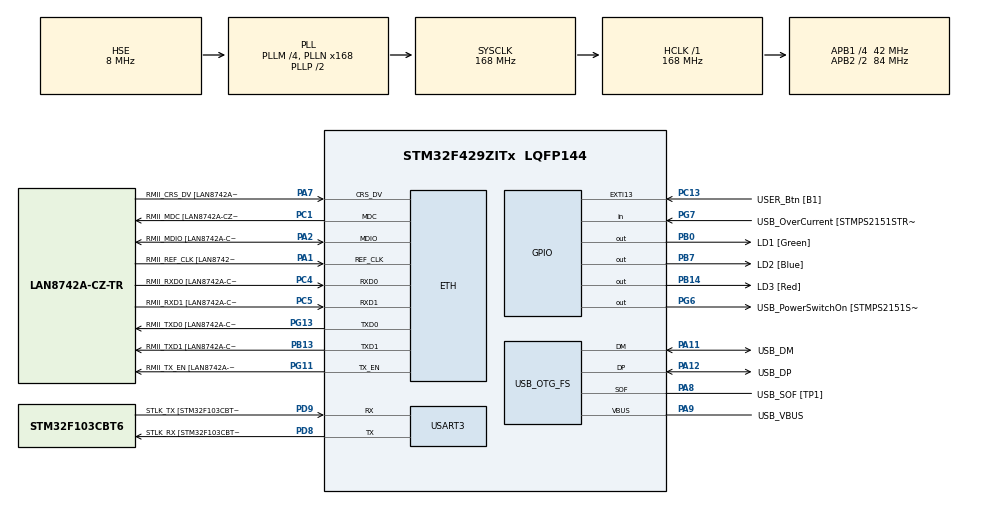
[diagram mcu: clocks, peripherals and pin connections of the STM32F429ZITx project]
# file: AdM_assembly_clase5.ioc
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ETH.MediaInterface=HAL_ETH_RMII_MODE
ETH.PHY_Name=LAN8742A_PHY_ADDRESS
ETH.PHY_Value=0
ETH.PhyAddress=0
Mcu.Family=STM32F4
Mcu.Name=STM32F429ZITx
Mcu.Package=LQFP144
NVIC.PriorityGroup=NVIC_PRIORITYGROUP_4
PA1.GPIO_Label=RMII_REF_CLK [LAN8742A-CZ-TR_REFCLK0]
PA1.Mode=RMII
PA1.Signal=ETH_REF_CLK
PA10.GPIO_Label=USB_ID
PA10.Signal=USB_OTG_FS_ID
PA11.GPIO_Label=USB_DM
PA11.Mode=Device_Only
PA11.Signal=USB_OTG_FS_DM
PA12.GPIO_Label=USB_DP
PA12.Mode=Device_Only
PA12.Signal=USB_OTG_FS_DP
PA13.GPIO_Label=TMS
PA13.Mode=Serial_Wire
PA13.Signal=SYS_JTMS-SWDIO
PA14.GPIO_Label=TCK
PA14.Mode=Serial_Wire
PA14.Signal=SYS_JTCK-SWCLK
PA2.GPIO_Label=RMII_MDIO [LAN8742A-CZ-TR_MDIO]
PA2.Mode=RMII
PA2.Signal=ETH_MDIO
PA7.GPIO_Label=RMII_CRS_DV [LAN8742A-CZ-TR_CRS_DV]
PA7.Mode=RMII
PA7.Signal=ETH_CRS_DV
PA8.GPIO_Label=USB_SOF [TP1]
PA8.Mode=Activate_SOF_FS
PA8.Signal=USB_OTG_FS_SOF
PA9.GPIO_Label=USB_VBUS
PA9.Mode=Activate_VBUS
PA9.Signal=USB_OTG_FS_VBUS
PB0.GPIO_Label=LD1 [Green]
PB0.Signal=GPIO_Output
PB13.GPIO_Label=RMII_TXD1 [LAN8742A-CZ-TR_TXD1]
PB13.Mode=RMII
PB13.Signal=ETH_TXD1
PB14.GPIO_Label=LD3 [Red]
PB14.Signal=GPIO_Output
PB7.GPIO_Label=LD2 [Blue]
PB7.Signal=GPIO_Output
PC1.GPIO_Label=RMII_MDC [LAN8742A-CZ-TR_MDC]
PC1.Mode=RMII
PC1.Signal=ETH_MDC
PC13.GPIO_Label=USER_Btn [B1]
PC13.Signal=GPXTI13
PC14/OSC32_IN.Mode=LSE-External-Oscillator
PC14/OSC32_IN.Signal=RCC_OSC32_IN
PC15/OSC32_OUT.Mode=LSE-External-Oscillator
PC15/OSC32_OUT.Signal=RCC_OSC32_OUT
PC4.GPIO_Label=RMII_RXD0 [LAN8742A-CZ-TR_RXD0]
PC4.Mode=RMII
PC4.Signal=ETH_RXD0
PC5.GPIO_Label=RMII_RXD1 [LAN8742A-CZ-TR_RXD1]
PC5.Mode=RMII
PC5.Signal=ETH_RXD1
PD8.GPIO_Label=STLK_RX [STM32F103CBT6_PA3]
PD8.Mode=Asynchronous
PD8.Signal=USART3_TX
PD9.GPIO_Label=STLK_TX [STM32F103CBT6_PA2]
PD9.Mode=Asynchronous
PD9.Signal=USART3_RX
PG11.GPIO_Label=RMII_TX_EN [LAN8742A-CZ-TR_TXEN]
PG11.Mode=RMII
PG11.Signal=ETH_TX_EN
PG13.GPIO_Label=RMII_TXD0 [LAN8742A-CZ-TR_TXD0]
PG13.Mode=RMII
PG13.Signal=ETH_TXD0
PG6.GPIO_Label=USB_PowerSwitchOn [STMPS2151STR_EN]
PG6.Signal=GPIO_Output
PG7.GPIO_Label=USB_OverCurrent [STMPS2151STR_FAULT]
PG7.Signal=GPIO_Input
PH0/OSC_IN.GPIO_Label=MCO [STM32F103CBT6_PA8]
PH0/OSC_IN.Mode=HSE-External-Clock-Source
PH0/OSC_IN.Signal=RCC_OSC_IN
PH1/OSC_OUT.Mode=HSE-External-Clock-Source
PH1/OSC_OUT.Signal=RCC_OSC_OUT
ProjectManager.HeapSize=0x200
ProjectManager.StackSize=0x400
ProjectManager.TargetToolchain=STM32CubeIDE
RCC.48MHZClocksFreq_Value=48000000
RCC.AHBFreq_Value=168000000
RCC.APB1CLKDivider=RCC_HCLK_DIV4
RCC.APB1Freq_Value=42000000
RCC.APB1TimFreq_Value=84000000
RCC.APB2CLKDivider=RCC_HCLK_DIV2
RCC.APB2Freq_Value=84000000
RCC.APB2TimCLKDivider=2
RCC.APB2TimFreq_Value=168000000
RCC.CortexFreq_Value=168000000
RCC.HCLKFreq_Value=168000000
RCC.HSE_VALUE=8000000
RCC.HSI_VALUE=16000000
RCC.PLLM=4
RCC.PLLMUL=RCC_PLL_MUL9
RCC.PLLN=168
RCC.PLLQ=7
RCC.PRESCALERUSB=RCC_USBCLKSOURCE_PLL_DIV1_5
RCC.SYSCLKFreq_VALUE=168000000
RCC.SYSCLKSource=RCC_SYSCLKSOURCE_PLLCLK
RCC.SYSCLKSourceVirtual=RCC_SYSCLKSOURCE_PLLCLK
RCC.USBFreq_Value=48000000
RCC.VCOOutputFreq_Value=336000000
USART3.VirtualMode=VM_ASYNC
USB_OTG_FS.VirtualMode=Device_Only
board=NUCLEO-F429ZI

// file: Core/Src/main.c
/* USER CODE BEGIN Header */
/**
  ******************************************************************************
  * @file           : main.c
  * @brief          : Main program body
  ******************************************************************************
  * @attention
  *
  * Copyright (c) 2024 STMicroelectronics.
  * All rights reserved.
  *
  * This software is licensed under terms that can be found in the LICENSE file
  * in the root directory of this software component.
  * If no LICENSE file comes with this software, it is provided AS-IS.
  *
  ******************************************************************************
  */
/* USER CODE END Header */
#include "main.h"
#include "string.h"

/* USER CODE BEGIN Includes */
#include "asm_func.h"

/* USER CODE END Includes */

/* USER CODE BEGIN PD */
#define EJERCICIO 4

/* USER CODE END PD */

ETH_TxPacketConfig TxConfig;
ETH_DMADescTypeDef  DMARxDscrTab[ETH_RX_DESC_CNT]; /* Ethernet Rx DMA Descriptors */
ETH_DMADescTypeDef  DMATxDscrTab[ETH_TX_DESC_CNT]; /* Ethernet Tx DMA Descriptors */

ETH_HandleTypeDef heth;

UART_HandleTypeDef huart3;

PCD_HandleTypeDef hpcd_USB_OTG_FS;

void SystemClock_Config(void);
static void MX_GPIO_Init(void);
static void MX_ETH_Init(void);
static void MX_USART3_UART_Init(void);
static void MX_USB_OTG_FS_PCD_Init(void);
/* USER CODE BEGIN PFP */

void downSample2(int32_t vectorIn[], int32_t vectorOut[], uint32_t longitud, uint32_t N);
/* USER CODE END PFP */

int main(void)
{

  /* USER CODE BEGIN 1 */

    /* -------------- GP2-EJ1 PACK32TO16  -------------- */
    if(1 == EJERCICIO){
	    int32_t vectorIn[] = { -400000, -300000, -200000, 200000, 300000, 400000};
	    const uint32_t longitud = sizeof(vectorIn)/sizeof(vectorIn[0]);
	    int16_t vectorOut[longitud];
	    //uint32_t longitud = sizeof(vectorIn)/sizeof(vectorIn[0]);
	    pack32to16(vectorIn, vectorOut, longitud);
	    uint8_t a = 1; // usar break para ver vectorOut
    }
    /* -------------- GP2-EJ1 PACK32TO16  -------------- */

    /* -------------- GP2-EJ2 MAX  -------------- */
    if(2 == EJERCICIO){
	    int32_t vectorIn[] = {-5, 50, 10, 100, -20, 30, 0};
	    uint32_t longitud = sizeof(vectorIn)/sizeof(vectorIn[0]);

	    uint32_t maxValue = max(vectorIn, longitud);
	    uint8_t a = 1; // usar break para ver vectorOut
    }
    /* -------------- GP2-EJ2 MAX  -------------- */

    /* -------------- GP2-EJ3 DOWNSAMPLE  -------------- */
    if(3 == EJERCICIO){
	    int32_t vectorIn[] = {1,2,3,4,5,6,7,8,9,10,11,12};
	    uint32_t longitud = sizeof(vectorIn)/sizeof(vectorIn[0]);
	    uint32_t N = 3;
	    const uint32_t longitud2 = longitud * (N-1) / N;
	    int32_t vectorOut[longitud2];

	    downSample(vectorIn, vectorOut, longitud, N);
	    uint8_t a = 1; // usar break para ver vectorOut

    }

    /* -------------- GP2-EJ3 DOWNSAMPLE  -------------- */

    /* -------------- GP2-EJ4 INVERTIR  -------------- */
    if(4 == EJERCICIO){
    	uint16_t vector[] = {10,20,30,40,50,60};
		uint32_t longitud = sizeof(vector)/sizeof(vector[0]);

    	invertir(vector, longitud);
    	uint8_t a = 1; // usar break para ver vectorOut
    }
    /* -------------- GP2-EJ4 INVERTIR  -------------- */

  /* USER CODE END 1 */

  /* MCU Configuration--------------------------------------------------------*/

  /* Reset of all peripherals, Initializes the Flash interface and the Systick. */
  HAL_Init();

  /* Configure the system clock */
  SystemClock_Config();

  /* Initialize all configured peripherals */
  MX_GPIO_Init();
  MX_ETH_Init();
  MX_USART3_UART_Init();
  MX_USB_OTG_FS_PCD_Init();

  /* Infinite loop */
  while (1)
  {

  }
}

void SystemClock_Config(void)
{
  RCC_OscInitTypeDef RCC_OscInitStruct = {0};
  RCC_ClkInitTypeDef RCC_ClkInitStruct = {0};

  /** Configure the main internal regulator output voltage
  */
  __HAL_RCC_PWR_CLK_ENABLE();
  __HAL_PWR_VOLTAGESCALING_CONFIG(PWR_REGULATOR_VOLTAGE_SCALE1);

  /** Initializes the RCC Oscillators according to the specified parameters
  * in the RCC_OscInitTypeDef structure.
  */
  RCC_OscInitStruct.OscillatorType = RCC_OSCILLATORTYPE_HSE;
  RCC_OscInitStruct.HSEState = RCC_HSE_BYPASS;
  RCC_OscInitStruct.PLL.PLLState = RCC_PLL_ON;
  RCC_OscInitStruct.PLL.PLLSource = RCC_PLLSOURCE_HSE;
  RCC_OscInitStruct.PLL.PLLM = 4;
  RCC_OscInitStruct.PLL.PLLN = 168;
  RCC_OscInitStruct.PLL.PLLP = RCC_PLLP_DIV2;
  RCC_OscInitStruct.PLL.PLLQ = 7;
  if (HAL_RCC_OscConfig(&RCC_OscInitStruct) != HAL_OK)
  {
    Error_Handler();
  }

  /** Initializes the CPU, AHB and APB buses clocks
  */
  RCC_ClkInitStruct.ClockType = RCC_CLOCKTYPE_HCLK|RCC_CLOCKTYPE_SYSCLK
                              |RCC_CLOCKTYPE_PCLK1|RCC_CLOCKTYPE_PCLK2;
  RCC_ClkInitStruct.SYSCLKSource = RCC_SYSCLKSOURCE_PLLCLK;
  RCC_ClkInitStruct.AHBCLKDivider = RCC_SYSCLK_DIV1;
  RCC_ClkInitStruct.APB1CLKDivider = RCC_HCLK_DIV4;
  RCC_ClkInitStruct.APB2CLKDivider = RCC_HCLK_DIV2;

  if (HAL_RCC_ClockConfig(&RCC_ClkInitStruct, FLASH_LATENCY_5) != HAL_OK)
  {
    Error_Handler();
  }
}

static void MX_ETH_Init(void)
{

   static uint8_t MACAddr[6];

  heth.Instance = ETH;
  MACAddr[0] = 0x00;
  MACAddr[1] = 0x80;
  MACAddr[2] = 0xE1;
  MACAddr[3] = 0x00;
  MACAddr[4] = 0x00;
  MACAddr[5] = 0x00;
  heth.Init.MACAddr = &MACAddr[0];
  heth.Init.MediaInterface = HAL_ETH_RMII_MODE;
  heth.Init.TxDesc = DMATxDscrTab;
  heth.Init.RxDesc = DMARxDscrTab;
  heth.Init.RxBuffLen = 1524;

  if (HAL_ETH_Init(&heth) != HAL_OK)
  {
    Error_Handler();
  }

  memset(&TxConfig, 0 , sizeof(ETH_TxPacketConfig));
  TxConfig.Attributes = ETH_TX_PACKETS_FEATURES_CSUM | ETH_TX_PACKETS_FEATURES_CRCPAD;
  TxConfig.ChecksumCtrl = ETH_CHECKSUM_IPHDR_PAYLOAD_INSERT_PHDR_CALC;
  TxConfig.CRCPadCtrl = ETH_CRC_PAD_INSERT;

}

static void MX_USART3_UART_Init(void)
{

  huart3.Instance = USART3;
  huart3.Init.BaudRate = 115200;
  huart3.Init.WordLength = UART_WORDLENGTH_8B;
  huart3.Init.StopBits = UART_STOPBITS_1;
  huart3.Init.Parity = UART_PARITY_NONE;
  huart3.Init.Mode = UART_MODE_TX_RX;
  huart3.Init.HwFlowCtl = UART_HWCONTROL_NONE;
  huart3.Init.OverSampling = UART_OVERSAMPLING_16;
  if (HAL_UART_Init(&huart3) != HAL_OK)
  {
    Error_Handler();
  }

}

static void MX_USB_OTG_FS_PCD_Init(void)
{

  hpcd_USB_OTG_FS.Instance = USB_OTG_FS;
  hpcd_USB_OTG_FS.Init.dev_endpoints = 4;
  hpcd_USB_OTG_FS.Init.speed = PCD_SPEED_FULL;
  hpcd_USB_OTG_FS.Init.dma_enable = DISABLE;
  hpcd_USB_OTG_FS.Init.phy_itface = PCD_PHY_EMBEDDED;
  hpcd_USB_OTG_FS.Init.Sof_enable = ENABLE;
  hpcd_USB_OTG_FS.Init.low_power_enable = DISABLE;
  hpcd_USB_OTG_FS.Init.lpm_enable = DISABLE;
  hpcd_USB_OTG_FS.Init.vbus_sensing_enable = ENABLE;
  hpcd_USB_OTG_FS.Init.use_dedicated_ep1 = DISABLE;
  if (HAL_PCD_Init(&hpcd_USB_OTG_FS) != HAL_OK)
  {
    Error_Handler();
  }

}

static void MX_GPIO_Init(void)
{
  GPIO_InitTypeDef GPIO_InitStruct = {0};

  /* GPIO Ports Clock Enable */
  __HAL_RCC_GPIOC_CLK_ENABLE();
  __HAL_RCC_GPIOH_CLK_ENABLE();
  __HAL_RCC_GPIOA_CLK_ENABLE();
  __HAL_RCC_GPIOB_CLK_ENABLE();
  __HAL_RCC_GPIOD_CLK_ENABLE();
  __HAL_RCC_GPIOG_CLK_ENABLE();

  /*Configure GPIO pin Output Level */
  HAL_GPIO_WritePin(GPIOB, LD1_Pin|LD3_Pin|LD2_Pin, GPIO_PIN_RESET);

  /*Configure GPIO pin Output Level */
  HAL_GPIO_WritePin(USB_PowerSwitchOn_GPIO_Port, USB_PowerSwitchOn_Pin, GPIO_PIN_RESET);

  /*Configure GPIO pin : USER_Btn_Pin */
  GPIO_InitStruct.Pin = USER_Btn_Pin;
  GPIO_InitStruct.Mode = GPIO_MODE_IT_RISING;
  GPIO_InitStruct.Pull = GPIO_NOPULL;
  HAL_GPIO_Init(USER_Btn_GPIO_Port, &GPIO_InitStruct);

  /*Configure GPIO pins : LD1_Pin LD3_Pin LD2_Pin */
  GPIO_InitStruct.Pin = LD1_Pin|LD3_Pin|LD2_Pin;
  GPIO_InitStruct.Mode = GPIO_MODE_OUTPUT_PP;
  GPIO_InitStruct.Pull = GPIO_NOPULL;
  GPIO_InitStruct.Speed = GPIO_SPEED_FREQ_LOW;
  HAL_GPIO_Init(GPIOB, &GPIO_InitStruct);

  /*Configure GPIO pin : USB_PowerSwitchOn_Pin */
  GPIO_InitStruct.Pin = USB_PowerSwitchOn_Pin;
  GPIO_InitStruct.Mode = GPIO_MODE_OUTPUT_PP;
  GPIO_InitStruct.Pull = GPIO_NOPULL;
  GPIO_InitStruct.Speed = GPIO_SPEED_FREQ_LOW;
  HAL_GPIO_Init(USB_PowerSwitchOn_GPIO_Port, &GPIO_InitStruct);

  /*Configure GPIO pin : USB_OverCurrent_Pin */
  GPIO_InitStruct.Pin = USB_OverCurrent_Pin;
  GPIO_InitStruct.Mode = GPIO_MODE_INPUT;
  GPIO_InitStruct.Pull = GPIO_NOPULL;
  HAL_GPIO_Init(USB_OverCurrent_GPIO_Port, &GPIO_InitStruct);

}

/* USER CODE BEGIN 4 */

void downSample2(int32_t vectorIn[], int32_t vectorOut[], uint32_t longitud, uint32_t N){
	uint32_t longitud2 = longitud * (N-1) / N;
	uint32_t indice2 = longitud2-1;
	uint32_t indice = longitud-1;
	uint32_t cuenta = N; // contador de omision

    while(1){
	    if( (indice == longitud-1)||(cuenta == 0) ){
	    	cuenta = N; // resetear contador
		     // no almacenar
	    } else {
		    vectorOut[indice2] = vectorIn[indice];
		    indice2--;
	    }
	    if(indice == 0) break;
	    cuenta--;
	    indice--;
    }

}

/* USER CODE END 4 */

void Error_Handler(void)
{
  __disable_irq();
  while (1)
  {
  }
}
